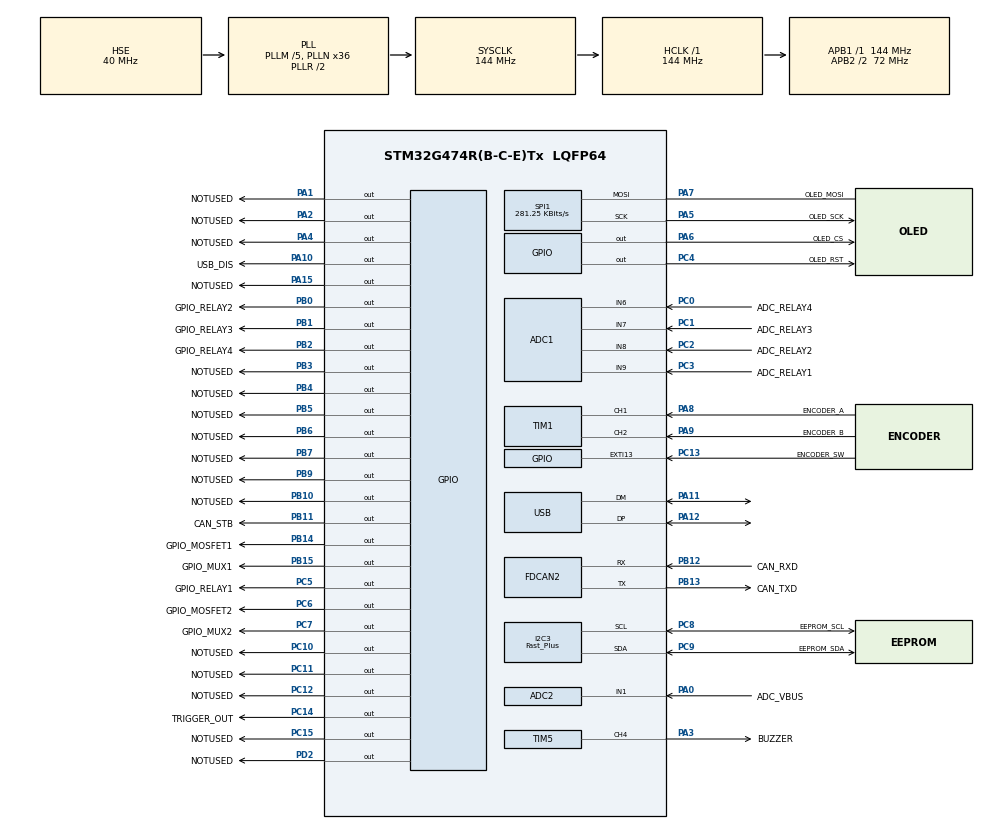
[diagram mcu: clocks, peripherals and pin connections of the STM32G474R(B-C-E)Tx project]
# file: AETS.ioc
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ADC1.Channel-1\#ChannelRegularConversion=ADC_CHANNEL_9
ADC1.ClockPrescaler=ADC_CLOCK_ASYNC_DIV4
ADC1.ContinuousConvMode=ENABLE
ADC1.DMAContinuousRequests=DISABLE
ADC1.EOCSelection=ADC_EOC_SINGLE_CONV
ADC1.EnableRegularConversion=ENABLE
ADC1.NbrOfConversionFlag=1
ADC1.OffsetNumber-1\#ChannelRegularConversion=ADC_OFFSET_NONE
ADC1.Overrun=ADC_OVR_DATA_OVERWRITTEN
ADC1.OversamplingMode=DISABLE
ADC1.Rank-1\#ChannelRegularConversion=1
ADC1.SamplingTime-1\#ChannelRegularConversion=ADC_SAMPLETIME_640CYCLES_5
ADC1.master=1
ADC2.AWD1HighThreshold=1580
ADC2.AWD1ITMode=ENABLE
ADC2.AWD1LowThreshold=1000
ADC2.Channel-1\#ChannelRegularConversion=ADC_CHANNEL_1
ADC2.ClockPrescaler=ADC_CLOCK_ASYNC_DIV4
ADC2.ContinuousConvMode=ENABLE
ADC2.EnableAnalogWatchDog1=true
ADC2.NbrOfConversionFlag=1
ADC2.OffsetNumber-1\#ChannelRegularConversion=ADC_OFFSET_NONE
ADC2.Overrun=ADC_OVR_DATA_OVERWRITTEN
ADC2.Rank-1\#ChannelRegularConversion=1
ADC2.SamplingTime-1\#ChannelRegularConversion=ADC_SAMPLETIME_24CYCLES_5
ADC2.WatchdogChannel=ADC_CHANNEL_1
FDCAN2.CalculateBaudRateNominal=500000
FDCAN2.CalculateTimeBitNominal=2000
FDCAN2.CalculateTimeQuantumNominal=100.0
FDCAN2.FrameFormat=FDCAN_FRAME_CLASSIC
FDCAN2.NominalPrescaler=4
FDCAN2.NominalTimeSeg1=16
FDCAN2.NominalTimeSeg2=3
I2C3.I2C_Rise_Time=20
I2C3.I2C_Speed_Mode=I2C_Fast_Plus
I2C3.Timing=0x00A51C4E
Mcu.Family=STM32G4
Mcu.Name=STM32G474R(B-C-E)Tx
Mcu.Package=LQFP64
NVIC.ADC1_2_IRQn=true\:0\:0\:false\:false\:true\:true\:true\:true
NVIC.EXTI15_10_IRQn=true\:5\:0\:true\:false\:true\:true\:true\:true
NVIC.PriorityGroup=NVIC_PRIORITYGROUP_4
NVIC.TIM6_DAC_IRQn=true\:15\:0\:false\:false\:true\:false\:true\:true
NVIC.TimeBase=TIM6_DAC_IRQn
NVIC.TimeBaseIP=TIM6
NVIC.USB_LP_IRQn=true\:0\:0\:false\:false\:true\:false\:true\:true
PA0.GPIO_Label=ADC_VBUS
PA0.Mode=IN1-Single-Ended
PA0.Signal=ADC2_IN1
PA1.GPIO_Label=NOTUSED
PA1.Signal=GPIO_Output
PA10.GPIO_Label=USB_DIS
PA10.Signal=GPIO_Output
PA11.Mode=Device
PA11.Signal=USB_DM
PA12.Mode=Device
PA12.Signal=USB_DP
PA13.Mode=Serial_Wire
PA13.Signal=SYS_JTMS-SWDIO
PA14.Mode=Serial_Wire
PA14.Signal=SYS_JTCK-SWCLK
PA15.GPIO_Label=NOTUSED
PA15.Signal=GPIO_Output
PA2.GPIO_Label=NOTUSED
PA2.Signal=GPIO_Output
PA3.GPIO_Label=BUZZER
PA3.GPIO_Speed=GPIO_SPEED_FREQ_HIGH
PA3.Signal=S_TIM5_CH4
PA4.GPIO_Label=NOTUSED
PA4.Signal=GPIO_Output
PA5.GPIO_Label=OLED_SCK
PA5.Mode=Simplex_Bidirectional_Master
PA5.Signal=SPI1_SCK
PA6.GPIO_Label=OLED_CS
PA6.Signal=GPIO_Output
PA7.GPIO_Label=OLED_MOSI
PA7.Mode=Simplex_Bidirectional_Master
PA7.Signal=SPI1_MOSI
PA8.GPIO_Label=ENCODER_A
PA8.GPIO_Speed=GPIO_SPEED_FREQ_MEDIUM
PA8.Signal=S_TIM1_CH1
PA9.GPIO_Label=ENCODER_B
PA9.GPIO_Speed=GPIO_SPEED_FREQ_MEDIUM
PA9.Signal=S_TIM1_CH2
PB0.GPIO_Label=GPIO_RELAY2
PB0.Signal=GPIO_Output
PB1.GPIO_Label=GPIO_RELAY3
PB1.Signal=GPIO_Output
PB10.GPIO_Label=NOTUSED
PB10.Signal=GPIO_Output
PB11.GPIO_Label=CAN_STB
PB11.Signal=GPIO_Output
PB12.GPIO_Label=CAN_RXD
PB12.GPIO_Speed=GPIO_SPEED_FREQ_HIGH
PB12.Mode=FDCAN_Activate
PB12.Signal=FDCAN2_RX
PB13.GPIO_Label=CAN_TXD
PB13.GPIO_Speed=GPIO_SPEED_FREQ_HIGH
PB13.Mode=FDCAN_Activate
PB13.Signal=FDCAN2_TX
PB14.GPIO_Label=GPIO_MOSFET1
PB14.Signal=GPIO_Output
PB15.GPIO_Label=GPIO_MUX1
PB15.Signal=GPIO_Output
PB2.GPIO_Label=GPIO_RELAY4
PB2.Signal=GPIO_Output
PB3.GPIO_Label=NOTUSED
PB3.Signal=GPIO_Output
PB4.GPIO_Label=NOTUSED
PB4.Signal=GPIO_Output
PB5.GPIO_Label=NOTUSED
PB5.Signal=GPIO_Output
PB6.GPIO_Label=NOTUSED
PB6.Signal=GPIO_Output
PB7.GPIO_Label=NOTUSED
PB7.Signal=GPIO_Output
PB9.GPIO_Label=NOTUSED
PB9.Signal=GPIO_Output
PC0.GPIO_Label=ADC_RELAY4
PC0.GPIO_Pd=GPIO_NOPULL
PC0.Mode=IN6-Single-Ended
PC0.Signal=ADC1_IN6
PC1.GPIO_Label=ADC_RELAY3
PC1.GPIO_Pd=GPIO_NOPULL
PC1.Mode=IN7-Single-Ended
PC1.Signal=ADC1_IN7
PC10.GPIO_Label=NOTUSED
PC10.Signal=GPIO_Output
PC11.GPIO_Label=NOTUSED
PC11.Signal=GPIO_Output
PC12.GPIO_Label=NOTUSED
PC12.Signal=GPIO_Output
PC13.GPIO_Label=ENCODER_SW
PC13.GPIO_ModeDefaultEXTI=GPIO_MODE_IT_FALLING
PC13.Signal=GPXTI13
PC14-OSC32_IN.GPIO_Label=TRIGGER_OUT
PC14-OSC32_IN.Signal=GPIO_Output
PC15-OSC32_OUT.GPIO_Label=NOTUSED
PC15-OSC32_OUT.Signal=GPIO_Output
PC2.GPIO_Label=ADC_RELAY2
PC2.Mode=IN8-Single-Ended
PC2.Signal=ADC1_IN8
PC3.GPIO_Label=ADC_RELAY1
PC3.Mode=IN9-Single-Ended
PC3.Signal=ADC1_IN9
PC4.GPIO_Label=OLED_RST
PC4.Signal=GPIO_Output
PC5.GPIO_Label=GPIO_RELAY1
PC5.Signal=GPIO_Output
PC6.GPIO_Label=GPIO_MOSFET2
PC6.Signal=GPIO_Output
PC7.GPIO_Label=GPIO_MUX2
PC7.Signal=GPIO_Output
PC8.GPIO_Label=EEPROM_SCL
PC8.GPIO_Pu=GPIO_NOPULL
PC8.GPIO_Speed=GPIO_SPEED_FREQ_HIGH
PC8.Mode=I2C
PC8.Signal=I2C3_SCL
PC9.GPIO_Label=EEPROM_SDA
PC9.GPIO_Pu=GPIO_NOPULL
PC9.GPIO_Speed=GPIO_SPEED_FREQ_HIGH
PC9.Mode=I2C
PC9.Signal=I2C3_SDA
PD2.GPIO_Label=NOTUSED
PD2.Signal=GPIO_Output
PF0-OSC_IN.Mode=HSE-External-Oscillator
PF0-OSC_IN.Signal=RCC_OSC_IN
PF1-OSC_OUT.Mode=HSE-External-Oscillator
PF1-OSC_OUT.Signal=RCC_OSC_OUT
ProjectManager.HeapSize=0x200
ProjectManager.StackSize=0x400
ProjectManager.TargetToolchain=STM32CubeIDE
RCC.ADC12Freq_Value=144000000
RCC.ADC345Freq_Value=144000000
RCC.AHBFreq_Value=144000000
RCC.APB1Freq_Value=144000000
RCC.APB1TimFreq_Value=144000000
RCC.APB2CLKDivider=RCC_HCLK_DIV2
RCC.APB2Freq_Value=72000000
RCC.APB2TimFreq_Value=144000000
RCC.CortexFreq_Value=144000000
RCC.EXTERNAL_CLOCK_VALUE=12288000
RCC.FDCANCLockSelection=RCC_FDCANCLKSOURCE_HSE
RCC.HCLKFreq_Value=144000000
RCC.HSE_VALUE=40000000
RCC.HSI48_VALUE=48000000
RCC.HSI_VALUE=16000000
RCC.LSE_VALUE=32768
RCC.PLLM=RCC_PLLM_DIV5
RCC.PLLN=36
RCC.PLLQ=RCC_PLLQ_DIV6
RCC.PLLSourceVirtual=RCC_PLLSOURCE_HSE
RCC.SYSCLKFreq_VALUE=144000000
RCC.SYSCLKSource=RCC_SYSCLKSOURCE_PLLCLK
RCC.USBFreq_Value=48000000
RCC.VCOOutputFreq_Value=288000000
SH.S_TIM1_CH1.0=TIM1_CH1,Encoder_Interface
SH.S_TIM1_CH2.0=TIM1_CH2,Encoder_Interface
SH.S_TIM5_CH4.0=TIM5_CH4,PWM Generation4 CH4
SPI1.BaudRatePrescaler=SPI_BAUDRATEPRESCALER_256
SPI1.CLKPhase=SPI_PHASE_2EDGE
SPI1.CLKPolarity=SPI_POLARITY_HIGH
SPI1.CalculateBaudRate=281.25 KBits/s
SPI1.DataSize=SPI_DATASIZE_8BIT
SPI1.Direction=SPI_DIRECTION_1LINE
SPI1.FirstBit=SPI_FIRSTBIT_LSB
SPI1.Mode=SPI_MODE_MASTER
SPI1.VirtualType=VM_MASTER
TIM1.AutoReloadPreload=TIM_AUTORELOAD_PRELOAD_ENABLE
TIM1.CounterMode=TIM_COUNTERMODE_UP
TIM1.EncoderMode=TIM_ENCODERMODE_TI12
TIM1.IC1Filter=4
TIM1.IC1Polarity=TIM_ICPOLARITY_FALLING
TIM1.IC2Filter=10
TIM1.IC2Polarity=TIM_ICPOLARITY_FALLING
TIM5.AutoReloadPreload=TIM_AUTORELOAD_PRELOAD_ENABLE
TIM5.Channel-PWM\ Generation4\ CH4=TIM_CHANNEL_4
USB_DEVICE.CLASS_NAME_FS=CDC
USB_DEVICE.PRODUCT_STRING_CDC_FS=AETS
USB_DEVICE.USBD_LPM_ENABLED=0
USB_DEVICE.VirtualMode=Cdc
USB_DEVICE.VirtualModeFS=Cdc_FS
VP_ADC1_Vref_Input.Mode=IN-Vrefint
VP_CRC_VS_CRC.Mode=CRC_Activate
VP_SYS_VS_DBSignals.Mode=DisableDeadBatterySignals
VP_SYS_VS_tim6.Mode=TIM6
VP_SYS_V_VREFBUF.Mode=ExternalMode
VP_TIM2_VS_ClockSourceINT.Mode=Internal
VP_USB_DEVICE_VS_USB_DEVICE_CDC_FS.Mode=CDC_FS
board=custom

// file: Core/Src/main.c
/* USER CODE BEGIN Header */
/**
  ******************************************************************************
  * @file           : main.c
  * @brief          : Main program body
  ******************************************************************************
  * @attention
  *
  * Copyright (c) 2025 STMicroelectronics.
  * All rights reserved.
  *
  * This software is licensed under terms that can be found in the LICENSE file
  * in the root directory of this software component.
  * If no LICENSE file comes with this software, it is provided AS-IS.
  *
  ******************************************************************************
  */
/* USER CODE END Header */
#include "main.h"
#include "adc.h"
#include "crc.h"
#include "fdcan.h"
#include "i2c.h"
#include "spi.h"
#include "tim.h"
#include "usb_device.h"
#include "gpio.h"

/* USER CODE BEGIN Includes */
#include "relay.h"
#include "mosfet.h"
#include "mux.h"
#include "current.h"
#include "power.h"
#include "buzzer.h"
#include "trigger.h"
#include "display.h"
#include <string.h>
#include "comuser.h"
#include "encoder.h"
#include "canfd.h"
#include "kvstore.h"  // <- added
#include "menu.h"
#include "app_menu.h"
#include "app_sm.h"
#include "io_control.h"
#include "relay_counter.h"
#include "app_params.h"
#include "relay_health_store.h"
#include "telemetry.h"

/* USER CODE END Includes */

/* USER CODE BEGIN PTD */

// --- measure VDDA/VREF+ in millivolts using factory-trimmed VREFINT ---

/* USER CODE END PTD */

void SystemClock_Config(void);

int main(void)
{

  /* MCU Configuration--------------------------------------------------------*/

  /* Reset of all peripherals, Initializes the Flash interface and the Systick. */
  HAL_Init();

  /* Configure the system clock */
  SystemClock_Config();

  /* Initialize all configured peripherals */
  MX_GPIO_Init();
  MX_I2C3_Init();
  MX_FDCAN2_Init();
  MX_ADC1_Init();
  MX_ADC2_Init();
  MX_TIM1_Init();
  MX_TIM5_Init();
  MX_TIM2_Init();
  MX_USB_Device_Init();
  MX_SPI1_Init();
  MX_CRC_Init();
  /* USER CODE BEGIN 2 */

  oled_init();
  comu_Init();
  Relay_Init();
  MOSFET_Init();
  MUX_Init();
  io_init();
  Power_InitBrownout();
  Buzzer_Init();
  HAL_Delay(1500); //init screen visible time
  Trigger_Init();
  cfd_Init();
  KV_Init();
  app_params_init();
  relay_health_init();
  relay_counter_init();
  oled_demo();
  Current_Init();
  app_menu_init();
  app_init();

  /* USER CODE END 2 */

  /* Infinite loop */
  /* USER CODE BEGIN WHILE */
  while (1)
  {

    uint32_t now = HAL_GetTick();
    /* Highest priority: brownout/pending saves */
    KV_HandlePending();
    relay_health_handle_pending();

    /* Core state machine and output sequencing */
    app_tick(now);
    relay_counter_periodic_flush(now);

    /* Test telemetry only when test is active */
    app_status_t st = app_get_status();
    if (st.state == APP_STATE_TEST && st.test_state == APP_TEST_RUNNING) {
      telemetry_tick(now);
    }

    /* Lowest priority: UI and communication */
    comu_HandleCommunication();
    app_menu_task();

    /* USER CODE END WHILE */

  }
}

void SystemClock_Config(void)
{
  RCC_OscInitTypeDef RCC_OscInitStruct = {0};
  RCC_ClkInitTypeDef RCC_ClkInitStruct = {0};

  /** Configure the main internal regulator output voltage
  */
  HAL_PWREx_ControlVoltageScaling(PWR_REGULATOR_VOLTAGE_SCALE1);

  /** Initializes the RCC Oscillators according to the specified parameters
  * in the RCC_OscInitTypeDef structure.
  */
  RCC_OscInitStruct.OscillatorType = RCC_OSCILLATORTYPE_HSE;
  RCC_OscInitStruct.HSEState = RCC_HSE_ON;
  RCC_OscInitStruct.PLL.PLLState = RCC_PLL_ON;
  RCC_OscInitStruct.PLL.PLLSource = RCC_PLLSOURCE_HSE;
  RCC_OscInitStruct.PLL.PLLM = RCC_PLLM_DIV5;
  RCC_OscInitStruct.PLL.PLLN = 36;
  RCC_OscInitStruct.PLL.PLLP = RCC_PLLP_DIV2;
  RCC_OscInitStruct.PLL.PLLQ = RCC_PLLQ_DIV6;
  RCC_OscInitStruct.PLL.PLLR = RCC_PLLR_DIV2;
  if (HAL_RCC_OscConfig(&RCC_OscInitStruct) != HAL_OK)
  {
    Error_Handler();
  }

  /** Initializes the CPU, AHB and APB buses clocks
  */
  RCC_ClkInitStruct.ClockType = RCC_CLOCKTYPE_HCLK|RCC_CLOCKTYPE_SYSCLK
                              |RCC_CLOCKTYPE_PCLK1|RCC_CLOCKTYPE_PCLK2;
  RCC_ClkInitStruct.SYSCLKSource = RCC_SYSCLKSOURCE_PLLCLK;
  RCC_ClkInitStruct.AHBCLKDivider = RCC_SYSCLK_DIV1;
  RCC_ClkInitStruct.APB1CLKDivider = RCC_HCLK_DIV1;
  RCC_ClkInitStruct.APB2CLKDivider = RCC_HCLK_DIV2;

  if (HAL_RCC_ClockConfig(&RCC_ClkInitStruct, FLASH_LATENCY_4) != HAL_OK)
  {
    Error_Handler();
  }
}

void HAL_TIM_PeriodElapsedCallback(TIM_HandleTypeDef *htim)
{
  if (htim->Instance == TIM6)
  {
    HAL_IncTick();
  }
}

void Error_Handler(void)
{
  __disable_irq();
  while (1)
  {
  }
}
